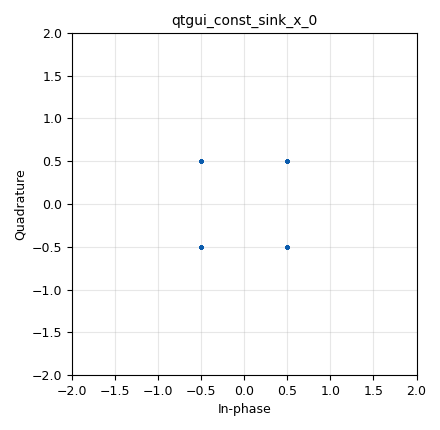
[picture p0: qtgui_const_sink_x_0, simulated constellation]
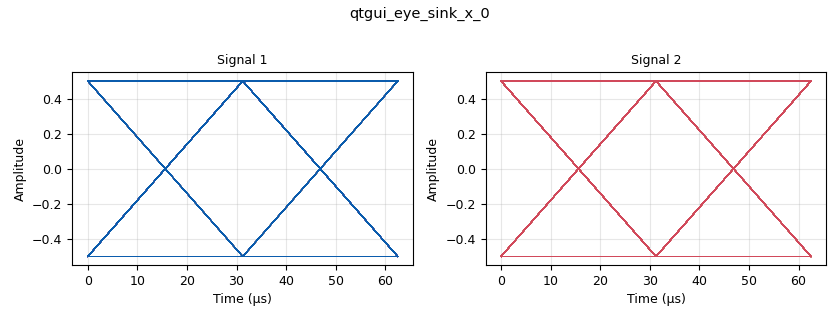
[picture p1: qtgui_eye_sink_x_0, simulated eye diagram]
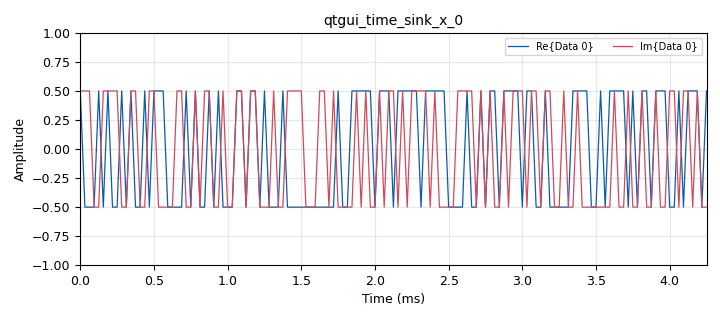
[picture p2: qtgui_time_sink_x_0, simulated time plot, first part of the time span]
options:
  parameters:
    generate_options: qt_gui
    id: QAM
    output_language: python
    title: 4QAM
  states: {}

blocks:
- name: beta
  id: variable_qtgui_range
  parameters:
    label: k3(IP3)
    start: '-1'
    step: '1e-3'
    stop: '0'
    value: '0'
  states: {}
- name: const_size
  id: variable
  parameters:
    value: '4'
  states: {}
- name: freq_offset
  id: variable_qtgui_range
  parameters:
    label: Frequency Offset
    start: '-500e-3'
    step: '1'
    stop: '500e-3'
    value: '0'
  states: {}
- name: i_ofs
  id: variable_qtgui_range
  parameters:
    label: I offset
    start: '-1'
    step: '1e-3'
    stop: '1'
    value: '0'
  states: {}
- name: k
  id: variable
  parameters:
    value: '2'
  states: {}
- name: magbal
  id: variable_qtgui_range
  parameters:
    label: IQ Magnitude Imbalace
    start: '0'
    step: '100e-3'
    stop: '10'
    value: '0'
  states: {}
- name: phase_noise_mag
  id: variable_qtgui_range
  parameters:
    label: Phase Noise Mag(dB)
    start: '-100'
    step: '1'
    stop: '0'
    value: '-100'
  states: {}
- name: phasebal
  id: variable_qtgui_range
  parameters:
    label: IQ Phase Imbalace
    start: '0'
    step: '100e-3'
    stop: '45'
    value: '0'
  states: {}
- name: q_ofs
  id: variable_qtgui_range
  parameters:
    label: Q offset
    start: '-1'
    step: '1e-3'
    stop: '1'
    value: '0'
  states: {}
- name: samp_rate
  id: variable
  parameters:
    value: '32000'
  states: {}
- name: analog_noise_source_x_0
  id: analog_noise_source_x
  parameters:
    amp: '100e-3'
    noise_type: analog.GR_GAUSSIAN
    seed: '0'
    type: int
  states: {}
- name: analog_random_source_x_0
  id: analog_random_source_x
  parameters:
    max: '2'
    min: '0'
    num_samps: '10000'
    repeat: 'True'
    type: int
  states: {}
- name: analog_random_source_x_1
  id: analog_random_source_x
  parameters:
    max: '2'
    min: '0'
    num_samps: '10000'
    repeat: 'True'
    type: int
  states: {}
- name: blocks_add_const_vxx_0
  id: blocks_add_const_vxx
  parameters:
    const: '-500e-3-500e-3j'
    type: complex
  states: {}
- name: blocks_add_xx_0
  id: blocks_add_xx
  parameters:
    type: int
  states: {}
- name: blocks_float_to_complex_0
  id: blocks_float_to_complex
  parameters: {}
  states: {}
- name: blocks_int_to_float_0
  id: blocks_int_to_float
  parameters:
    scale: '1'
  states: {}
- name: blocks_int_to_float_1
  id: blocks_int_to_float
  parameters:
    scale: '1'
  states: {}
- name: blocks_throttle2_0
  id: blocks_throttle2
  parameters:
    samples_per_second: samp_rate
    type: complex
  states: {}
- name: channels_impairments_0
  id: channels_impairments
  parameters:
    freq_offset: freq_offset
    gamma: '0'
    i_ofs: i_ofs
    magbal: magbal
    phase_noise_mag: '-100'
    phasebal: phasebal
    q_ofs: q_ofs
  states: {}
- name: qtgui_const_sink_x_0
  id: qtgui_const_sink_x
  parameters:
    grid: 'True'
    size: '1024'
    type: complex
  states: {}
- name: qtgui_eye_sink_x_0
  id: qtgui_eye_sink_x
  parameters:
    autoscale: 'True'
    samp_per_symbol: '1'
    size: '1024'
    srate: samp_rate
    type: complex
  states: {}
- name: qtgui_time_sink_x_0
  id: qtgui_time_sink_x
  parameters:
    grid: 'True'
    size: '1024'
    srate: samp_rate
    type: complex
  states: {}

connections:
- [analog_noise_source_x_0, '0', blocks_add_xx_0, '0']
- [analog_random_source_x_0, '0', blocks_add_xx_0, '1']
- [analog_random_source_x_1, '0', blocks_int_to_float_0, '0']
- [blocks_add_const_vxx_0, '0', blocks_throttle2_0, '0']
- [blocks_add_xx_0, '0', blocks_int_to_float_1, '0']
- [blocks_float_to_complex_0, '0', blocks_add_const_vxx_0, '0']
- [blocks_int_to_float_0, '0', blocks_float_to_complex_0, '1']
- [blocks_int_to_float_1, '0', blocks_float_to_complex_0, '0']
- [blocks_throttle2_0, '0', channels_impairments_0, '0']
- [channels_impairments_0, '0', qtgui_const_sink_x_0, '0']
- [channels_impairments_0, '0', qtgui_eye_sink_x_0, '0']
- [channels_impairments_0, '0', qtgui_time_sink_x_0, '0']

metadata:
  file_format: 1
  grc_version: 3.10.12.0
